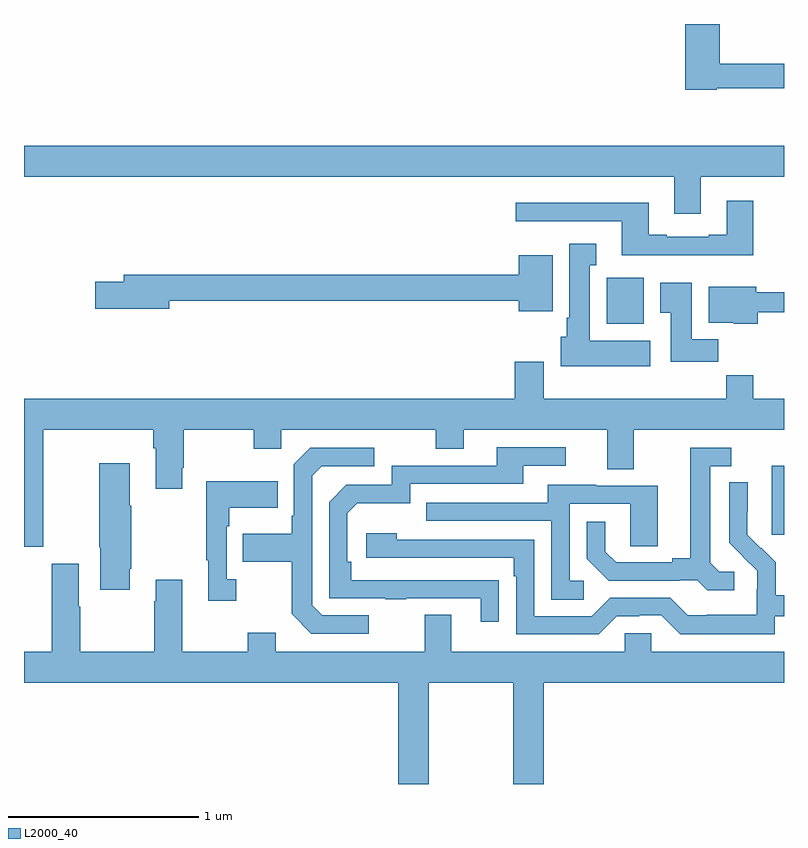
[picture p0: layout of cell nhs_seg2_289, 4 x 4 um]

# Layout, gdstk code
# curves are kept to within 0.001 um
import gdstk
lib = gdstk.Library(unit=1e-6, precision=1e-09)
def R(c, l, rs):  # rectangles x0, y0, x1, y1
    for r in rs: c.add(gdstk.rectangle(r[:2], r[2:], *l))
def P(c, l, *ps):  # polygons
    for p in ps: c.add(gdstk.Polygon(p, *l))
L2000_40 = (2000, 40)

nhs_seg2_289 = lib.new_cell('nhs_seg2_289')
R(nhs_seg2_289, L2000_40, [(128.936,619.113,129,619.474), (128.066,620.222,128.263,620.464)])
P(nhs_seg2_289, L2000_40, [(128.646,621.462),(129,621.462),(129,621.59),(128.663,621.59),(128.663,621.8),(128.48,621.8),(128.48,621.454),(128.646,621.454)],
  [(128.563,620.996),(129,620.996),(129,621.16),(125,621.16),(125,620.996),(128.423,620.996),(128.423,620.802),(128.563,620.802)],
  [(128.839,620.869),(128.699,620.869),(128.699,620.692),(128.603,620.692),(128.603,620.679),(128.383,620.679),(128.383,620.692),(128.287,620.692),(128.287,620.86),(127.587,620.86),(127.587,620.763),(128.147,620.763),(128.147,620.582),(128.839,620.582)],
  [(128.296,620.134),(127.978,620.134),(127.978,620.531),(128.011,620.531),(128.011,620.644),(127.871,620.644),(127.871,620.254),(127.856,620.254),(127.856,620.154),(127.826,620.154),(127.826,620),(128.296,620)],
  [(127.783,620.584),(127.604,620.584),(127.604,620.48),(125.525,620.48),(125.525,620.444),(125.376,620.444),(125.376,620.302),(125.764,620.302),(125.764,620.344),(127.604,620.344),(127.604,620.288),(127.783,620.288)],
  [(128.654,620.14),(128.515,620.14),(128.515,620.437),(128.348,620.437),(128.348,620.281),(128.405,620.281),(128.405,620.022),(128.654,620.022)],
  [(128.862,620.284),(129,620.284),(129,620.388),(128.854,620.388),(128.854,620.416),(128.603,620.416),(128.603,620.228),(128.736,620.228),(128.736,620.222),(128.862,620.222)],
  [(128.695,619.952),(128.695,619.828),(127.735,619.828),(127.735,620.023),(127.583,620.023),(127.583,619.828),(125,619.828),(125,619.05),(125.101,619.05),(125.101,619.664),(125.681,619.664),(125.681,619.568),(125.693,619.568),(125.693,619.353),(125.833,619.353),(125.833,619.465),(125.841,619.465),(125.841,619.664),(126.208,619.664),(126.208,619.565),(126.354,619.565),(126.354,619.664),(127.168,619.664),(127.168,619.565),(127.315,619.565),(127.315,619.664),(128.069,619.664),(128.069,619.456),(128.209,619.456),(128.209,619.664),(129,619.664),(129,619.828),(128.839,619.828),(128.839,619.952)],
  [(127.499,618.872),(126.722,618.873),(126.722,618.97),(126.702,618.97),(126.702,619.224),(126.755,619.277),(127.032,619.277),(127.032,619.38),(127.627,619.38),(127.627,619.476),(127.852,619.476),(127.852,619.572),(127.487,619.572),(127.487,619.476),(126.936,619.476),(126.936,619.374),(126.696,619.374),(126.606,619.284),(126.606,618.777),(126.901,618.777),(126.901,618.772),(127.013,618.772),(127.013,618.777),(127.403,618.777),(127.403,618.654),(127.499,618.654)],
  [(128.739,618.918),(128.658,618.918),(128.611,618.965),(128.611,619.473),(128.722,619.473),(128.722,619.569),(128.507,619.569),(128.507,618.989),(128.411,618.989),(128.411,618.966),(128.116,618.966),(128.059,619.023),(128.059,619.18),(127.962,619.18),(127.962,618.986),(128.078,618.87),(128.45,618.87),(128.45,618.873),(128.544,618.873),(128.596,618.821),(128.739,618.821)],
  [(126.814,618.687),(126.57,618.687),(126.516,618.741),(126.516,619.422),(126.567,619.473),(126.844,619.473),(126.844,619.569),(126.507,619.569),(126.42,619.482),(126.42,619.213),(126.408,619.213),(126.408,619.117),(126.151,619.117),(126.151,618.97),(126.408,618.97),(126.408,618.697),(126.513,618.591),(126.814,618.591)],
  [(125.557,618.934),(125.565,618.934),(125.565,619.265),(125.557,619.265),(125.557,619.489),(125.395,619.489),(125.395,619.045),(125.402,619.045),(125.402,618.822),(125.557,618.822)],
  [(126.118,618.878),(126.066,618.878),(126.066,619.157),(126.079,619.157),(126.079,619.253),(126.335,619.253),(126.335,619.393),(125.958,619.393),(125.958,618.977),(125.969,618.977),(125.969,618.765),(126.118,618.765)],
  [(128.952,618.684),(129,618.684),(129,618.793),(128.957,618.793),(128.957,618.967),(128.88,619.044),(128.877,619.041),(128.807,619.112),(128.808,619.388),(128.712,619.388),(128.712,619.07),(128.858,618.922),(128.858,618.825),(128.856,618.825),(128.856,618.691),(128.593,618.691),(128.593,618.687),(128.493,618.687),(128.4,618.78),(128.085,618.78),(127.989,618.684),(127.686,618.684),(127.686,619.086),(126.962,619.086),(126.962,619.12),(126.801,619.12),(126.801,618.99),(127.577,618.99),(127.577,618.893),(127.59,618.893),(127.59,618.588),(128.025,618.588),(128.121,618.684),(128.239,618.684),(128.239,618.687),(128.355,618.687),(128.455,618.587),(128.952,618.587)],
  [(127.945,618.87),(127.872,618.87),(127.872,619.275),(128.19,619.275),(128.19,619.051),(128.335,619.051),(128.335,619.371),(128.011,619.371),(128.011,619.375),(127.757,619.375),(127.757,619.281),(127.117,619.281),(127.117,619.185),(127.776,619.185),(127.776,618.769),(127.945,618.769)],
  [(127.131,618.332),(127.576,618.332),(127.576,617.8),(127.736,617.8),(127.736,618.332),(129,618.332),(129,618.496),(128.301,618.496),(128.301,618.594),(128.163,618.594),(128.163,618.496),(127.249,618.496),(127.249,618.691),(127.109,618.691),(127.109,618.496),(126.325,618.496),(126.325,618.595),(126.178,618.595),(126.178,618.496),(125.833,618.496),(125.833,618.874),(125.693,618.874),(125.693,618.761),(125.686,618.761),(125.686,618.496),(125.295,618.496),(125.295,618.734),(125.287,618.734),(125.287,618.958),(125.147,618.958),(125.147,618.496),(125,618.496),(125,618.332),(126.971,618.332),(126.971,617.8),(127.131,617.8)])

lib.write_gds('nhs_seg2_289.gds')
